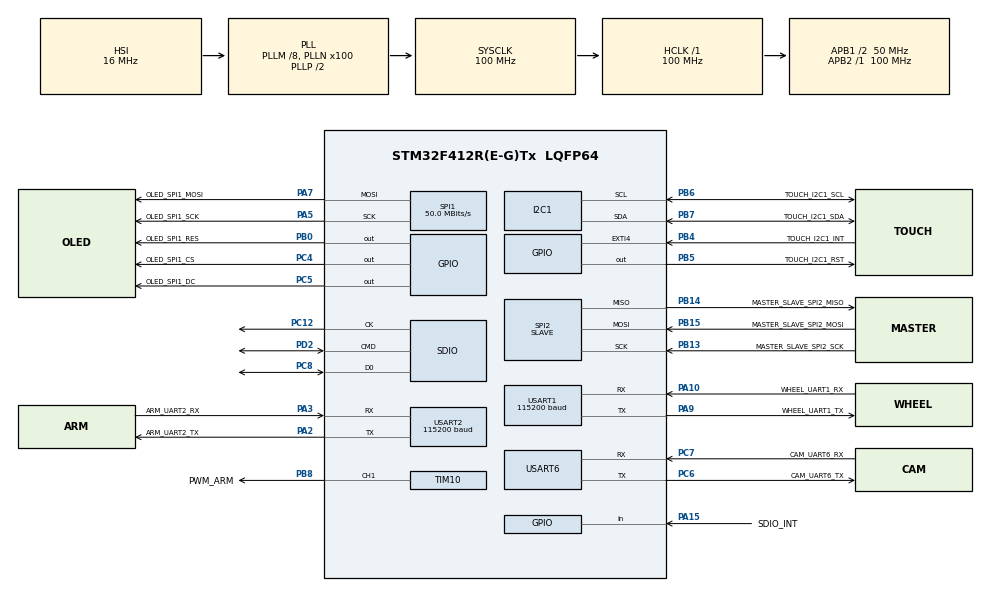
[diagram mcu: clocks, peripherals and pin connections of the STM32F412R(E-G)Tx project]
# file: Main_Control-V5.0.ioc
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Dma.Request0=SPI2_RX
Dma.Request1=SPI1_TX
Dma.Request2=SDIO
Dma.Request3=USART6_RX
Dma.Request4=USART6_TX
Dma.SDIO.2.Direction=DMA_PERIPH_TO_MEMORY
Dma.SDIO.2.FIFOMode=DMA_FIFOMODE_ENABLE
Dma.SDIO.2.FIFOThreshold=DMA_FIFO_THRESHOLD_FULL
Dma.SDIO.2.Instance=DMA2_Stream3
Dma.SDIO.2.MemBurst=DMA_MBURST_INC4
Dma.SDIO.2.MemDataAlignment=DMA_MDATAALIGN_WORD
Dma.SDIO.2.MemInc=DMA_MINC_ENABLE
Dma.SDIO.2.Mode=DMA_PFCTRL
Dma.SDIO.2.PeriphBurst=DMA_PBURST_INC4
Dma.SDIO.2.PeriphDataAlignment=DMA_PDATAALIGN_WORD
Dma.SDIO.2.PeriphInc=DMA_PINC_DISABLE
Dma.SDIO.2.Priority=DMA_PRIORITY_LOW
Dma.SPI1_TX.1.Direction=DMA_MEMORY_TO_PERIPH
Dma.SPI1_TX.1.FIFOMode=DMA_FIFOMODE_DISABLE
Dma.SPI1_TX.1.Instance=DMA2_Stream5
Dma.SPI1_TX.1.MemDataAlignment=DMA_MDATAALIGN_HALFWORD
Dma.SPI1_TX.1.MemInc=DMA_MINC_ENABLE
Dma.SPI1_TX.1.Mode=DMA_NORMAL
Dma.SPI1_TX.1.PeriphDataAlignment=DMA_PDATAALIGN_HALFWORD
Dma.SPI1_TX.1.PeriphInc=DMA_PINC_DISABLE
Dma.SPI1_TX.1.Priority=DMA_PRIORITY_LOW
Dma.SPI2_RX.0.Direction=DMA_PERIPH_TO_MEMORY
Dma.SPI2_RX.0.FIFOMode=DMA_FIFOMODE_DISABLE
Dma.SPI2_RX.0.Instance=DMA1_Stream3
Dma.SPI2_RX.0.MemDataAlignment=DMA_MDATAALIGN_HALFWORD
Dma.SPI2_RX.0.MemInc=DMA_MINC_ENABLE
Dma.SPI2_RX.0.Mode=DMA_CIRCULAR
Dma.SPI2_RX.0.PeriphDataAlignment=DMA_PDATAALIGN_HALFWORD
Dma.SPI2_RX.0.PeriphInc=DMA_PINC_DISABLE
Dma.SPI2_RX.0.Priority=DMA_PRIORITY_LOW
Dma.USART6_RX.3.Direction=DMA_PERIPH_TO_MEMORY
Dma.USART6_RX.3.FIFOMode=DMA_FIFOMODE_DISABLE
Dma.USART6_RX.3.Instance=DMA2_Stream1
Dma.USART6_RX.3.MemDataAlignment=DMA_MDATAALIGN_BYTE
Dma.USART6_RX.3.MemInc=DMA_MINC_ENABLE
Dma.USART6_RX.3.Mode=DMA_NORMAL
Dma.USART6_RX.3.PeriphDataAlignment=DMA_PDATAALIGN_BYTE
Dma.USART6_RX.3.PeriphInc=DMA_PINC_DISABLE
Dma.USART6_RX.3.Priority=DMA_PRIORITY_LOW
Dma.USART6_TX.4.Direction=DMA_MEMORY_TO_PERIPH
Dma.USART6_TX.4.FIFOMode=DMA_FIFOMODE_DISABLE
Dma.USART6_TX.4.Instance=DMA2_Stream6
Dma.USART6_TX.4.MemDataAlignment=DMA_MDATAALIGN_BYTE
Dma.USART6_TX.4.MemInc=DMA_MINC_ENABLE
Dma.USART6_TX.4.Mode=DMA_NORMAL
Dma.USART6_TX.4.PeriphDataAlignment=DMA_PDATAALIGN_BYTE
Dma.USART6_TX.4.PeriphInc=DMA_PINC_DISABLE
Dma.USART6_TX.4.Priority=DMA_PRIORITY_LOW
FATFS.BSP.number=1
FATFS.USE_DMA_CODE_SD=1
FATFS._CODE_PAGE=936
FATFS._MAX_SS=512
FATFS._USE_LFN=2
FATFS0.BSP.STBoard=false
FATFS0.BSP.api=Unknown
FATFS0.BSP.instance=PA15
FATFS0.BSP.ip=GPIO
FATFS0.BSP.mode=Input
FATFS0.BSP.name=Detect_SDIO
FATFS0.BSP.solution=PA15
I2C1.I2C_Mode=I2C_Fast
Mcu.Family=STM32F4
Mcu.Name=STM32F412R(E-G)Tx
Mcu.Package=LQFP64
NVIC.DMA1_Stream3_IRQn=true\:0\:0\:true\:false\:true\:false\:true\:true
NVIC.DMA2_Stream1_IRQn=true\:2\:0\:true\:false\:true\:false\:true\:true
NVIC.DMA2_Stream3_IRQn=true\:14\:0\:true\:false\:true\:false\:true\:true
NVIC.DMA2_Stream5_IRQn=true\:14\:0\:true\:false\:true\:false\:true\:true
NVIC.DMA2_Stream6_IRQn=true\:2\:0\:true\:false\:true\:false\:true\:true
NVIC.EXTI4_IRQn=true\:14\:0\:true\:false\:true\:true\:true\:true
NVIC.PriorityGroup=NVIC_PRIORITYGROUP_4
NVIC.SDIO_IRQn=true\:14\:0\:true\:false\:true\:true\:true\:true
NVIC.TIM3_IRQn=true\:14\:0\:true\:false\:true\:true\:true\:true
NVIC.TIM6_IRQn=true\:1\:0\:true\:false\:true\:true\:true\:true
NVIC.USART6_IRQn=true\:2\:0\:true\:false\:true\:true\:true\:true
PA10.GPIO_Label=WHEEL_UART1_RX
PA10.GPIO_PuPd=GPIO_PULLUP
PA10.Mode=Asynchronous
PA10.Signal=USART1_RX
PA13.Mode=Serial_Wire
PA13.Signal=SYS_JTMS-SWDIO
PA14.Mode=Serial_Wire
PA14.Signal=SYS_JTCK-SWCLK
PA15.GPIO_Label=SDIO_INT
PA15.GPIO_PuPd=GPIO_PULLUP
PA15.Signal=GPIO_Input
PA2.GPIO_Label=ARM_UART2_TX
PA2.GPIO_PuPd=GPIO_PULLUP
PA2.Mode=Asynchronous
PA2.Signal=USART2_TX
PA3.GPIO_Label=ARM_UART2_RX
PA3.GPIO_PuPd=GPIO_PULLUP
PA3.Mode=Asynchronous
PA3.Signal=USART2_RX
PA5.GPIO_Label=OLED_SPI1_SCK
PA5.Mode=TX_Only_Simplex_Unidirect_Master
PA5.Signal=SPI1_SCK
PA7.GPIO_Label=OLED_SPI1_MOSI
PA7.Mode=TX_Only_Simplex_Unidirect_Master
PA7.Signal=SPI1_MOSI
PA9.GPIO_Label=WHEEL_UART1_TX
PA9.GPIO_PuPd=GPIO_PULLUP
PA9.Mode=Asynchronous
PA9.Signal=USART1_TX
PB0.GPIO_Label=OLED_SPI1_RES
PB0.GPIO_ModeDefaultOutputPP=GPIO_MODE_OUTPUT_PP
PB0.GPIO_PuPd=GPIO_PULLUP
PB0.GPIO_Speed=GPIO_SPEED_FREQ_LOW
PB0.PinState=GPIO_PIN_RESET
PB0.Signal=GPIO_Output
PB13.GPIO_Label=MASTER_SLAVE_SPI2_SCK
PB13.GPIO_Mode=GPIO_MODE_AF_PP
PB13.GPIO_PuPd=GPIO_NOPULL
PB13.GPIO_Speed=GPIO_SPEED_FREQ_VERY_HIGH
PB13.Mode=Full_Duplex_Slave
PB13.Signal=SPI2_SCK
PB14.GPIO_Label=MASTER_SLAVE_SPI2_MISO
PB14.GPIO_Mode=GPIO_MODE_AF_PP
PB14.GPIO_PuPd=GPIO_NOPULL
PB14.GPIO_Speed=GPIO_SPEED_FREQ_VERY_HIGH
PB14.Mode=Full_Duplex_Slave
PB14.Signal=SPI2_MISO
PB15.GPIO_Label=MASTER_SLAVE_SPI2_MOSI
PB15.GPIO_Mode=GPIO_MODE_AF_PP
PB15.GPIO_PuPd=GPIO_NOPULL
PB15.GPIO_Speed=GPIO_SPEED_FREQ_VERY_HIGH
PB15.Mode=Full_Duplex_Slave
PB15.Signal=SPI2_MOSI
PB4.GPIO_Label=TOUCH_I2C1_INT
PB4.GPIO_ModeDefaultEXTI=GPIO_MODE_IT_FALLING
PB4.GPIO_PuPd=GPIO_NOPULL
PB4.Signal=GPXTI4
PB5.GPIO_Label=TOUCH_I2C1_RST
PB5.GPIO_PuPd=GPIO_PULLUP
PB5.Signal=GPIO_Output
PB6.GPIO_Label=TOUCH_I2C1_SCL
PB6.GPIO_Pu=GPIO_NOPULL
PB6.Mode=I2C
PB6.Signal=I2C1_SCL
PB7.GPIO_Label=TOUCH_I2C1_SDA
PB7.GPIO_Pu=GPIO_NOPULL
PB7.Mode=I2C
PB7.Signal=I2C1_SDA
PB8.GPIO_Label=PWM_ARM
PB8.Signal=S_TIM10_CH1
PC12.GPIO_PuPd=GPIO_NOPULL
PC12.Mode=SD_1_bit
PC12.Signal=SDIO_CK
PC4.GPIO_Label=OLED_SPI1_CS
PC4.GPIO_ModeDefaultOutputPP=GPIO_MODE_OUTPUT_PP
PC4.GPIO_PuPd=GPIO_PULLUP
PC4.GPIO_Speed=GPIO_SPEED_FREQ_VERY_HIGH
PC4.PinState=GPIO_PIN_SET
PC4.Signal=GPIO_Output
PC5.GPIO_Label=OLED_SPI1_DC
PC5.GPIO_ModeDefaultOutputPP=GPIO_MODE_OUTPUT_PP
PC5.GPIO_PuPd=GPIO_PULLUP
PC5.GPIO_Speed=GPIO_SPEED_FREQ_VERY_HIGH
PC5.PinState=GPIO_PIN_SET
PC5.Signal=GPIO_Output
PC6.GPIO_Label=CAM_UART6_TX
PC6.Mode=Asynchronous
PC6.Signal=USART6_TX
PC7.GPIO_Label=CAM_UART6_RX
PC7.Mode=Asynchronous
PC7.Signal=USART6_RX
PC8.GPIO_PuPd=GPIO_NOPULL
PC8.Mode=SD_1_bit
PC8.Signal=SDIO_D0
PD2.GPIO_PuPd=GPIO_NOPULL
PD2.Mode=SD_1_bit
PD2.Signal=SDIO_CMD
PH0\ -\ OSC_IN.Mode=HSE-External-Oscillator
PH0\ -\ OSC_IN.Signal=RCC_OSC_IN
PH1\ -\ OSC_OUT.Mode=HSE-External-Oscillator
PH1\ -\ OSC_OUT.Signal=RCC_OSC_OUT
ProjectManager.HeapSize=0x4000
ProjectManager.StackSize=0x4000
ProjectManager.TargetToolchain=MDK-ARM V5.32
RCC.AHBFreq_Value=100000000
RCC.APB1CLKDivider=RCC_HCLK_DIV2
RCC.APB1Freq_Value=50000000
RCC.APB1TimFreq_Value=100000000
RCC.APB2Freq_Value=100000000
RCC.APB2TimFreq_Value=100000000
RCC.CortexFreq_Value=100000000
RCC.HCLKFreq_Value=100000000
RCC.PLLM=8
RCC.PLLN=100
RCC.PLLQ=4
RCC.SYSCLKFreq_VALUE=100000000
RCC.SYSCLKSource=RCC_SYSCLKSOURCE_PLLCLK
RCC.USBFreq_Value=50000000
RCC.VCOOutputFreq_Value=200000000
SDIO.ClockDiv=0
SH.S_TIM10_CH1.0=TIM10_CH1,PWM Generation1 CH1
SPI1.CalculateBaudRate=50.0 MBits/s
SPI1.Direction=SPI_DIRECTION_2LINES
SPI1.Mode=SPI_MODE_MASTER
SPI1.VirtualType=VM_MASTER
SPI2.CLKPhase=SPI_PHASE_1EDGE
SPI2.CLKPolarity=SPI_POLARITY_LOW
SPI2.CRCCalculation=SPI_CRCCALCULATION_DISABLE
SPI2.DataSize=SPI_DATASIZE_16BIT
SPI2.Direction=SPI_DIRECTION_2LINES
SPI2.Mode=SPI_MODE_SLAVE
SPI2.VirtualType=VM_SLAVE
TIM10.Channel=TIM_CHANNEL_1
TIM10.Period=2000-1
TIM10.Prescaler=1000-1
TIM10.Pulse=250-1
TIM13.AutoReloadPreload=TIM_AUTORELOAD_PRELOAD_ENABLE
TIM13.Prescaler=10000-1
TIM3.AutoReloadPreload=TIM_AUTORELOAD_PRELOAD_ENABLE
TIM3.Period=1000-1
TIM3.Prescaler=100-1
TIM4.Prescaler=10000-1
TIM6.Period=5000-1
TIM6.Prescaler=1000-1
USART1.BaudRate=115200
USART1.VirtualMode=VM_ASYNC
USART2.BaudRate=115200
USART2.VirtualMode=VM_ASYNC
USART6.VirtualMode=VM_ASYNC
VP_CRC_VS_CRC.Mode=CRC_Activate
VP_FATFS_VS_SDIO.Mode=SDIO
VP_TIM10_VS_ClockSourceINT.Mode=Enable_Timer
VP_TIM13_VS_ClockSourceINT.Mode=Enable_Timer
VP_TIM3_VS_ClockSourceINT.Mode=Internal
VP_TIM4_VS_ClockSourceINT.Mode=Internal
VP_TIM6_VS_ClockSourceINT.Mode=Enable_Timer
board=custom

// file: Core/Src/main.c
/* USER CODE BEGIN Header */
/**
  ******************************************************************************
  * @file           : main.c
  * @brief          : Main program body
  ******************************************************************************
  * @attention
  *
  * Copyright (c) 2023 STMicroelectronics.
  * All rights reserved.
  *
  * This software is licensed under terms that can be found in the LICENSE file
  * in the root directory of this software component.
  * If no LICENSE file comes with this software, it is provided AS-IS.
  *
  ******************************************************************************
  */
/* USER CODE END Header */
#include "main.h"
#include "crc.h"
#include "dma.h"
#include "fatfs.h"
#include "i2c.h"
#include "sdio.h"
#include "spi.h"
#include "tim.h"
#include "usart.h"
#include "gpio.h"

/* USER CODE BEGIN Includes */
#include "ST7789V.h"
#include "GT911.h"
#include "lvgl.h"
#include "lv_port_disp.h"
#include "lv_port_indev.h"
#include "lv_port_fs.h"
#include "lv_app.h"
#include "Motro_Control_Basic.h"
#include "Motro_Control_Arm.h"
#include "Master_Slave_Communication.h"
#include "Arm.h"
#include "wheel.h"
#include "ble.h"
#include "Camera.h"
#include "Transport.h"
/* USER CODE END Includes */

void SystemClock_Config(void);

/* USER CODE BEGIN 0 */
void HAL_GPIO_EXTI_Callback(uint16_t GPIO_Pin)
{
  if(GPIO_Pin == TOUCH_I2C1_INT_Pin)
  {
		gt911_Scanf();
	}
}

void HAL_TIM_PeriodElapsedCallback(TIM_HandleTypeDef *htim)
{
	if(htim == &htim3)//1000Hz;1ms
	{
		lv_tick_inc(1);
	}
  else if(htim == &htim6)//20Hz;50ms
  {
    PID_Calculate_Control();
    PID_Frequence_Detection();
    BLE_Arm.Control_Sign = true;
  }
}

void HAL_SPI_RxCpltCallback(SPI_HandleTypeDef *hspi)
{
	if(hspi == &hspi2)
	{
		Master_Slave_Communication_Receive();
	}
}

void HAL_UART_RxCpltCallback(UART_HandleTypeDef *huart)
{
  if(huart == UART_Camera)
  {
    Camera_Receive_IT();
  }
}

// void HAL_FMPI2C_SlaveRxCpltCallback(I2C_HandleTypeDef *hi2c)
// {
//   if(hi2c == &hfmpi2c1)
//   {

//   }
// }

// void HAL_FMPI2C_ErrorCallback(FMPI2C_HandleTypeDef *hfmpi2c)
// {
//   if(hfmpi2c == &hfmpi2c1)
//   {
//     Camera_ErrorCallback(hfmpi2c);
//   }
// }

void While()
{
  lv_task_handler();
  LVGL_Display();
}
/* USER CODE END 0 */

int main(void)
{

  /* MCU Configuration--------------------------------------------------------*/

  /* Reset of all peripherals, Initializes the Flash interface and the Systick. */
  HAL_Init();

  /* Configure the system clock */
  SystemClock_Config();

  /* Initialize all configured peripherals */
  MX_GPIO_Init();
  MX_DMA_Init();
  MX_TIM10_Init();
  MX_USART1_UART_Init();
  MX_USART2_UART_Init();
  MX_I2C1_Init();
  MX_SDIO_SD_Init();
  MX_SPI1_Init();
  MX_SPI2_Init();
  MX_FATFS_Init();
  MX_TIM3_Init();
  MX_CRC_Init();
  MX_TIM13_Init();
  MX_TIM6_Init();
  MX_USART6_UART_Init();
  MX_TIM4_Init();
  /* USER CODE BEGIN 2 */
  ///////////////////////////////////   LVGL时钟   /////////////////////////////////
  HAL_TIM_Base_Start_IT(&htim3);
  ///////////////////////////////////   机械臂计算初始化   ///////////////////////////
  Arm_Angle_Calculate_Init();
  /////////////////////////////////    LVGL_INIT  ///////////////////////////////
  lv_init();
  lv_port_disp_init();
  lv_port_indev_init();
  lv_fs_fatfs_init();
  lv_demo_myself();
  ///////////////////////////////    Master_Slave_Communication_Init  ////////////////////////
  Master_Slave_Communication_Init();
  // HAL_Delay(1000);
  //////////////////////////////////   PID频率控制   ///////////////////////////////
  // HAL_TIM_Base_Start(&htim13);
  __HAL_TIM_CLEAR_IT(&htim6, TIM_IT_UPDATE);
  // HAL_TIM_Base_Start_IT(&htim6);/*程序内控制*/
	////////////////////////////////   Motro_Control_Init   ///////////////////////////////
  Motro_Control_Init();
  ////////////////////////////////   Wheel_Init   ///////////////////////////////
  Wheel_Init();
  //////////////////////////////////   Transport_Init   ///////////////////////////////
  HAL_TIM_Base_Start(&htim4); /*定时检测末端位置*/
  Arm_Init();
  BLE_Arm_Init();
  //////////////////////////////////   ARM_Init   ///////////////////////////////
  Transport_Init();
  //////////////////////////////////       PWM       ///////////////////////////////
  HAL_TIM_PWM_Start(&htim10,TIM_CHANNEL_1);
  //////////////////////////////////     Camera      ///////////////////////////////
  // Camera_Init();
  /* USER CODE END 2 */

  /* Infinite loop */
  /* USER CODE BEGIN WHILE */
  while (1)
  {
    While();
    BLE_control();
    Transport_main();
    /* USER CODE END WHILE */

  }
}

void SystemClock_Config(void)
{
  RCC_OscInitTypeDef RCC_OscInitStruct = {0};
  RCC_ClkInitTypeDef RCC_ClkInitStruct = {0};

  /** Configure the main internal regulator output voltage
  */
  __HAL_RCC_PWR_CLK_ENABLE();
  __HAL_PWR_VOLTAGESCALING_CONFIG(PWR_REGULATOR_VOLTAGE_SCALE1);

  /** Initializes the RCC Oscillators according to the specified parameters
  * in the RCC_OscInitTypeDef structure.
  */
  RCC_OscInitStruct.OscillatorType = RCC_OSCILLATORTYPE_HSI;
  RCC_OscInitStruct.HSIState = RCC_HSI_ON;
  RCC_OscInitStruct.HSICalibrationValue = RCC_HSICALIBRATION_DEFAULT;
  RCC_OscInitStruct.PLL.PLLState = RCC_PLL_ON;
  RCC_OscInitStruct.PLL.PLLSource = RCC_PLLSOURCE_HSI;
  RCC_OscInitStruct.PLL.PLLM = 8;
  RCC_OscInitStruct.PLL.PLLN = 100;
  RCC_OscInitStruct.PLL.PLLP = RCC_PLLP_DIV2;
  RCC_OscInitStruct.PLL.PLLQ = 4;
  RCC_OscInitStruct.PLL.PLLR = 2;
  if (HAL_RCC_OscConfig(&RCC_OscInitStruct) != HAL_OK)
  {
    Error_Handler();
  }

  /** Initializes the CPU, AHB and APB buses clocks
  */
  RCC_ClkInitStruct.ClockType = RCC_CLOCKTYPE_HCLK|RCC_CLOCKTYPE_SYSCLK
                              |RCC_CLOCKTYPE_PCLK1|RCC_CLOCKTYPE_PCLK2;
  RCC_ClkInitStruct.SYSCLKSource = RCC_SYSCLKSOURCE_PLLCLK;
  RCC_ClkInitStruct.AHBCLKDivider = RCC_SYSCLK_DIV1;
  RCC_ClkInitStruct.APB1CLKDivider = RCC_HCLK_DIV2;
  RCC_ClkInitStruct.APB2CLKDivider = RCC_HCLK_DIV1;

  if (HAL_RCC_ClockConfig(&RCC_ClkInitStruct, FLASH_LATENCY_3) != HAL_OK)
  {
    Error_Handler();
  }
}

void Error_Handler(void)
{
  __disable_irq();
  while (1)
  {
  }
}
